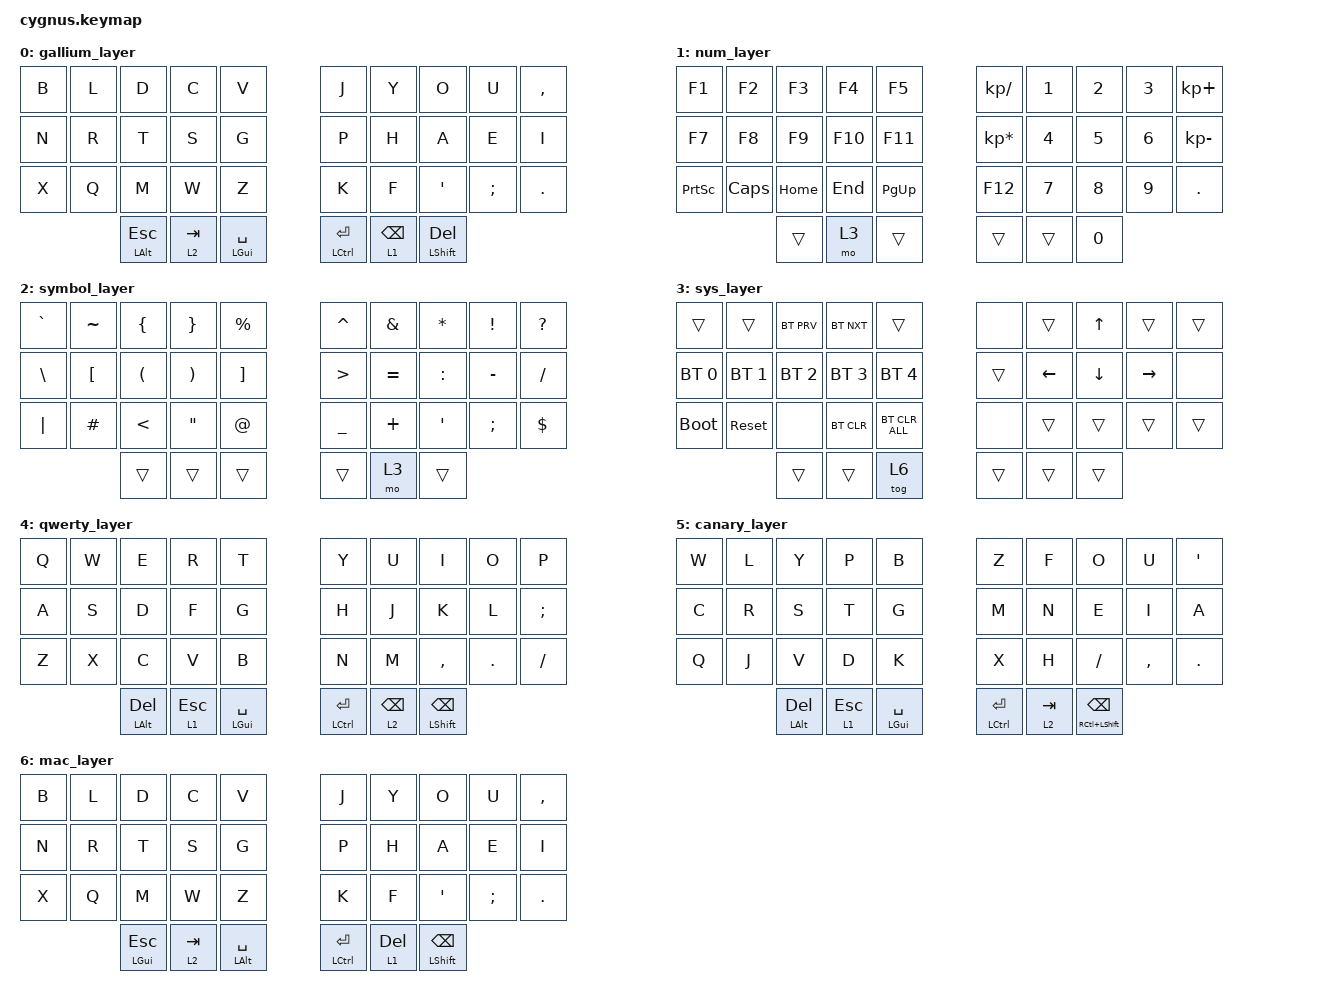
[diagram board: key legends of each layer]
/*
 * Cygnus 3x5+3 — Corne 5-column keymap ported 1:1.
 * Source: wandyirawan/corne-zmk-5-column@51b59df (US keycodes).
 * Flat positions remapped: corne 12-col rows -> 10-col rows,
 * thumbs 36-41 -> 30-35. Layer indices preserved.
 */

#include <behaviors.dtsi>
#include <dt-bindings/zmk/bt.h>
#include <dt-bindings/zmk/keys.h>

// Optimize key repeat and debounce

&sk {
    release-after-ms = <2000>;
    quick-release;
};

&caps_word { continue-list = <UNDERSCORE MINUS BACKSPACE>; };

&mt {
    tapping-term-ms = <280>;
    quick-tap-ms = <200>;
    require-prior-idle-ms = <120>;
    flavor = "balanced";
};

&lt {
    tapping-term-ms = <200>;
    quick-tap-ms = <150>;
    require-prior-idle-ms = <100>;
};

/ {
    combos {
        compatible = "zmk,combos";

        combo_bksp {
            timeout-ms = <35>;
            key-positions = <9 8>;
            bindings = <&kp BACKSPACE>;
            require-prior-idle-ms = <100>;
        };

        combo_tab {
            bindings = <&kp TAB>;
            key-positions = <0 1>;
        };

        combo_shift {
            bindings = <&kp LEFT_SHIFT>;
            key-positions = <20 21>;
        };

        combo_delete {
            bindings = <&kp DELETE>;
            key-positions = <18 19>;
        };

        combo_rshift {
            bindings = <&kp RIGHT_SHIFT>;
            key-positions = <28 29>;
        };

        layout_switch {
            bindings = <&tog 4>;
            key-positions = <30 31 34 35>;
        };

        canary_switch {
            bindings = <&tog 5>;
            key-positions = <32 33 34 35>;
        };

        system_reset {
            bindings = <&sys_reset>;
            key-positions = <2 3 4>;
        };

        bootloader {
            bindings = <&bootloader>;
            key-positions = <12 13 14>;
        };

        system_layer_combo {
            bindings = <&mo 3>;
            key-positions = <30 31>;
        };

        undo_combo {
            bindings = <&kp LC(Z)>;
            key-positions = <20 21 22>;
            timeout-ms = <40>;
        };

        copy_combo {
            bindings = <&kp LC(C)>;
            key-positions = <21 22>;
            timeout-ms = <35>;
        };

        paste_combo {
            bindings = <&kp LC(V)>;
            key-positions = <22 23>;
            timeout-ms = <35>;
        };

        // Programming bigram combos from plan.md
        // Bracket pairs

        alt_right_combo {
            bindings = <&kp LEFT_ALT>;
            key-positions = <10 20>;
        };
    };

    macros {
        macro_pluseq: macro_pluseq {
            compatible = "zmk,behavior-macro";
            #binding-cells = <0>;
            bindings = <&kp PLUS &kp EQUAL>;
        };

        macro_minuseq: macro_minuseq {
            compatible = "zmk,behavior-macro";
            #binding-cells = <0>;
            bindings = <&kp MINUS &kp EQUAL>;
        };

        macro_noteq: macro_noteq {
            compatible = "zmk,behavior-macro";
            #binding-cells = <0>;
            bindings = <&kp EXCLAMATION &kp EQUAL>;
        };

        macro_arrow: macro_arrow {
            compatible = "zmk,behavior-macro";
            #binding-cells = <0>;
            bindings = <&kp MINUS &kp GREATER_THAN>;
        };

        macro_fatarrow: macro_fatarrow {
            compatible = "zmk,behavior-macro";
            #binding-cells = <0>;
            bindings = <&kp EQUAL &kp GREATER_THAN>;
        };

        macro_parens: macro_parens {
            compatible = "zmk,behavior-macro";
            #binding-cells = <0>;
            bindings = <&kp LPAR &kp RPAR>;
        };

        macro_braces: macro_braces {
            compatible = "zmk,behavior-macro";
            #binding-cells = <0>;
            bindings = <&kp LBRC &kp RBRC>;
        };
    };

    conditional_layers { compatible = "zmk,conditional-layers"; };

    keymap {
        compatible = "zmk,keymap";

        gallium_layer {
            bindings = <
&kp B  &kp L  &kp D  &kp C  &kp V  &kp J  &kp Y  &kp O  &kp U  &kp COMMA
&kp N  &kp R  &kp T  &kp S  &kp G  &kp P  &kp H  &kp A  &kp E  &kp I
&kp X  &kp Q  &kp M  &kp W  &kp Z  &kp K  &kp F  &kp SQT  &kp SEMICOLON  &kp PERIOD
                     &mt LALT ESC  &lt 2 TAB  &mt LGUI SPACE  &mt LCTRL ENTER  &lt 1 BACKSPACE  &mt LSHIFT DELETE
            >;
        };

        num_layer {
            bindings = <
&kp F1  &kp F2  &kp F3  &kp F4  &kp F5  &kp KP_DIVIDE  &kp N1  &kp N2  &kp N3  &kp KP_PLUS
&kp F7  &kp F8  &kp F9  &kp F10  &kp F11  &kp KP_MULTIPLY  &kp N4  &kp N5  &kp N6  &kp KP_MINUS
&kp PSCRN  &kp CAPS  &kp HOME  &kp END  &kp PG_UP  &kp F12  &kp N7  &kp N8  &kp N9  &kp DOT
                     &trans  &mo 3  &trans  &trans  &trans  &kp N0
            >;
        };

        symbol_layer {
            bindings = <
&kp GRAVE  &kp TILDE  &kp LBRC  &kp RBRC  &kp PERCENT  &kp CARET  &kp AMPS  &kp ASTERISK  &kp EXCLAMATION  &kp QUESTION
&kp BSLH  &kp LBKT  &kp LPAR  &kp RPAR  &kp RBKT  &kp GT  &kp EQUAL  &kp COLON  &kp MINUS  &kp FSLH
&kp PIPE  &kp HASH  &kp LT  &kp DQT  &kp AT_SIGN  &kp UNDER  &kp PLUS  &kp SQT  &kp SEMI  &kp DOLLAR
                     &trans  &trans  &trans  &trans  &mo 3  &trans
            >;
        };

        sys_layer {
            bindings = <
&trans  &trans  &bt BT_PRV  &bt BT_NXT  &trans  &none  &trans  &kp UP  &trans  &trans
&bt BT_SEL 0  &bt BT_SEL 1  &bt BT_SEL 2  &bt BT_SEL 3  &bt BT_SEL 4  &trans  &kp LEFT  &kp DOWN  &kp RIGHT  &none
&bootloader  &sys_reset  &none  &bt BT_CLR  &bt BT_CLR_ALL  &none  &trans  &trans  &trans  &trans
                     &trans  &trans  &tog 6  &trans  &trans  &trans
            >;
        };

        qwerty_layer {
            bindings = <
&kp Q  &kp W  &kp E  &kp R  &kp T  &kp Y  &kp U  &kp I  &kp O  &kp P
&kp A  &kp S  &kp D  &kp F  &kp G  &kp H  &kp J  &kp K  &kp L  &kp SEMI
&kp Z  &kp X  &kp C  &kp V  &kp B  &kp N  &kp M  &kp COMMA  &kp DOT  &kp FSLH
                     &mt LEFT_ALT DEL  &lt 1 ESCAPE  &mt LEFT_GUI SPACE  &mt LCTRL ENTER  &lt 2 BACKSPACE  &mt LSHFT BACKSPACE
            >;
        };

        canary_layer {
            bindings = <
&kp W  &kp L  &kp Y  &kp P  &kp B  &kp Z  &kp F  &kp O  &kp U  &kp SQT
&kp C  &kp R  &kp S  &kp T  &kp G  &kp M  &kp N  &kp E  &kp I  &kp A
&kp Q  &kp J  &kp V  &kp D  &kp K  &kp X  &kp H  &kp SLASH  &kp COMMA  &kp PERIOD
                     &mt LALT DEL  &lt 1 ESCAPE  &mt LEFT_GUI SPACE  &mt LCTRL ENTER  &lt 2 TAB  &mt RC(LSHIFT) BACKSPACE
            >;
        };

        mac_layer {
            bindings = <
&kp B  &kp L  &kp D  &kp C  &kp V  &kp J  &kp Y  &kp O  &kp U  &kp COMMA
&kp N  &kp R  &kp T  &kp S  &kp G  &kp P  &kp H  &kp A  &kp E  &kp I
&kp X  &kp Q  &kp M  &kp W  &kp Z  &kp K  &kp F  &kp SQT  &kp SEMICOLON  &kp PERIOD
                     &mt LGUI ESC  &lt 2 TAB  &mt LALT SPACE  &mt LCTRL ENTER  &lt 1 DEL  &mt LSHIFT BACKSPACE
            >;
        };
    };
};
